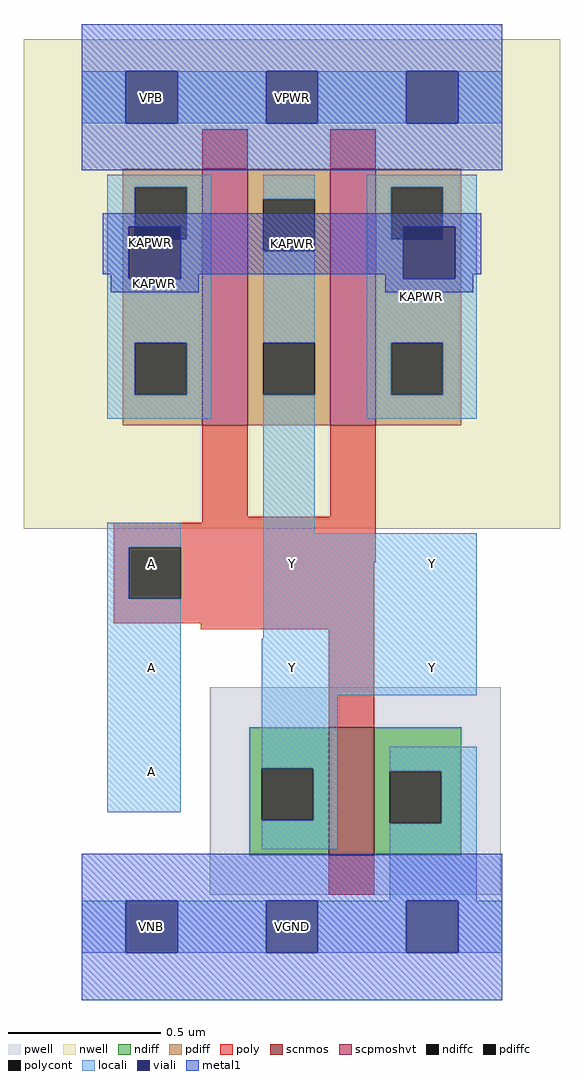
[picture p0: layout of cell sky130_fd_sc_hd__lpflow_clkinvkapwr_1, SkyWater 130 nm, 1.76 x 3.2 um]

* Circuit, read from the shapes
.subckt sky130_fd_sc_hd__lpflow_clkinvkapwr_1 A KAPWR VGND VNB VPB VPWR Y
XM1 VGND A Y VNB sky130_fd_pr__nfet_01v8 w=0.42 l=0.15
XM2 Y A KAPWR VPB sky130_fd_pr__pfet_01v8_hvt w=0.84 l=0.15 m=2
.ends

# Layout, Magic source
magic
tech sky130A
magscale 1 2
<< nwell >>
rect -38 261 314 582
<< pwell >>
rect 84 21 275 157
rect 29 -17 63 17
<< scnmos >>
rect 162 47 192 131
<< scpmoshvt >>
rect 79 329 109 497
rect 163 329 193 497
<< ndiff >>
rect 110 104 162 131
rect 110 70 118 104
rect 152 70 162 104
rect 110 47 162 70
rect 192 102 249 131
rect 192 68 202 102
rect 236 68 249 102
rect 192 47 249 68
<< pdiff >>
rect 27 485 79 497
rect 27 451 35 485
rect 69 451 79 485
rect 27 383 79 451
rect 27 349 35 383
rect 69 349 79 383
rect 27 329 79 349
rect 109 477 163 497
rect 109 443 119 477
rect 153 443 163 477
rect 109 383 163 443
rect 109 349 119 383
rect 153 349 163 383
rect 109 329 163 349
rect 193 485 249 497
rect 193 451 203 485
rect 237 451 249 485
rect 193 383 249 451
rect 193 349 203 383
rect 237 349 249 383
rect 193 329 249 349
<< ndiffc >>
rect 118 70 152 104
rect 202 68 236 102
<< pdiffc >>
rect 35 451 69 485
rect 35 349 69 383
rect 119 443 153 477
rect 119 349 153 383
rect 203 451 237 485
rect 203 349 237 383
<< poly >>
rect 79 497 109 523
rect 163 497 193 523
rect 79 269 109 329
rect 163 269 193 329
rect 79 265 193 269
rect 21 249 193 265
rect 21 215 31 249
rect 65 239 193 249
rect 65 215 192 239
rect 21 199 192 215
rect 78 195 192 199
rect 162 131 192 195
rect 162 21 192 47
<< polycont >>
rect 31 215 65 249
<< locali >>
rect 0 527 29 561
rect 63 527 121 561
rect 155 527 213 561
rect 247 527 276 561
rect 17 485 85 493
rect 17 459 35 485
rect 17 425 31 459
rect 69 451 85 485
rect 65 425 85 451
rect 17 383 85 425
rect 17 349 35 383
rect 69 349 85 383
rect 17 333 85 349
rect 119 477 153 493
rect 119 383 153 443
rect 17 249 65 265
rect 17 215 31 249
rect 17 75 65 215
rect 119 258 153 349
rect 187 485 259 493
rect 187 451 203 485
rect 237 459 259 485
rect 187 425 211 451
rect 245 425 259 459
rect 187 383 259 425
rect 187 349 203 383
rect 237 349 259 383
rect 187 333 259 349
rect 119 189 259 258
rect 118 152 259 189
rect 118 104 168 152
rect 152 70 168 104
rect 118 51 168 70
rect 202 102 259 118
rect 236 68 259 102
rect 202 17 259 68
rect 0 -17 29 17
rect 63 -17 121 17
rect 155 -17 213 17
rect 247 -17 276 17
<< viali >>
rect 29 527 63 561
rect 121 527 155 561
rect 213 527 247 561
rect 31 451 35 459
rect 35 451 65 459
rect 31 425 65 451
rect 211 451 237 459
rect 237 451 245 459
rect 211 425 245 451
rect 29 -17 63 17
rect 121 -17 155 17
rect 213 -17 247 17
<< metal1 >>
rect 0 561 276 592
rect 0 527 29 561
rect 63 527 121 561
rect 155 527 213 561
rect 247 527 276 561
rect 0 496 276 527
rect 14 459 262 468
rect 14 428 31 459
rect 19 425 31 428
rect 65 428 211 459
rect 65 425 77 428
rect 19 416 77 425
rect 199 425 211 428
rect 245 428 262 459
rect 245 425 257 428
rect 199 416 257 425
rect 0 17 276 48
rect 0 -17 29 17
rect 63 -17 121 17
rect 155 -17 213 17
rect 247 -17 276 17
rect 0 -48 276 -17
<< labels >>
flabel locali s 213 153 247 187 0 FreeSans 250 0 0 0 Y
port 7 nsew signal output
flabel locali s 213 221 247 255 0 FreeSans 250 0 0 0 Y
port 7 nsew signal output
flabel locali s 121 221 155 255 0 FreeSans 250 0 0 0 Y
port 7 nsew signal output
flabel locali s 121 153 155 187 0 FreeSans 250 0 0 0 Y
port 7 nsew signal output
flabel locali s 29 85 63 119 0 FreeSans 250 0 0 0 A
port 1 nsew signal input
flabel locali s 29 153 63 187 0 FreeSans 250 0 0 0 A
port 1 nsew signal input
flabel locali s 29 221 63 255 0 FreeSans 250 0 0 0 A
port 1 nsew signal input
flabel nwell s 29 527 63 561 0 FreeSans 200 0 0 0 VPB
port 5 nsew power bidirectional
flabel pwell s 29 -17 63 17 0 FreeSans 200 0 0 0 VNB
port 4 nsew ground bidirectional
flabel metal1 s 23 433 68 465 0 FreeSans 200 0 0 0 KAPWR
port 2 nsew power bidirectional abutment
flabel metal1 s 29 -17 63 17 0 FreeSans 200 0 0 0 VGND
port 3 nsew ground bidirectional abutment
flabel metal1 s 29 527 63 561 0 FreeSans 200 0 0 0 VPWR
port 6 nsew power bidirectional abutment
rlabel comment s 0 0 0 0 4 lpflow_clkinvkapwr_1
rlabel locali s 187 333 259 493 1 KAPWR
port 2 nsew power bidirectional abutment
rlabel metal1 s 199 416 257 428 1 KAPWR
port 2 nsew power bidirectional abutment
rlabel metal1 s 19 416 77 428 1 KAPWR
port 2 nsew power bidirectional abutment
rlabel metal1 s 14 428 262 468 1 KAPWR
port 2 nsew power bidirectional abutment
rlabel metal1 s 0 -48 276 48 1 VGND
port 3 nsew ground bidirectional abutment
rlabel metal1 s 0 496 276 592 1 VPWR
port 6 nsew power bidirectional abutment
<< properties >>
string FIXED_BBOX 0 0 276 544
string GDS_END 2280752
string GDS_FILE $PDKPATH/libs.ref/sky130_fd_sc_hd/gds/sky130_fd_sc_hd.gds
string GDS_START 2276626
string LEFclass CORE
string LEFsite unithd
string LEFsymmetry X Y R90
string path 0.000 0.000 6.900 0.000 
<< end >>
